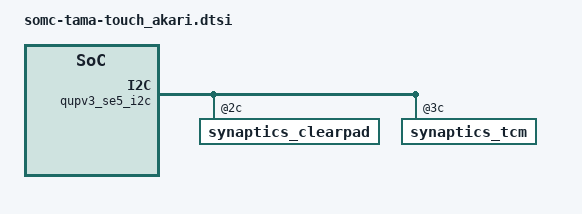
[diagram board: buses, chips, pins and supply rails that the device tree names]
// SPDX-License-Identifier: GPL-2.0-only
/*
 * Copyright (c) 2017, The Linux Foundation. All rights reserved.
 */

&qupv3_se5_i2c {
	synaptics_clearpad@2c {
		preset_x_max = <1079>;
		preset_y_max = <2159>;

		panel = <&dsi_3>;
	};

	synaptics_tcm@3c {
		parent = <&dsi_7>;
	};
};
